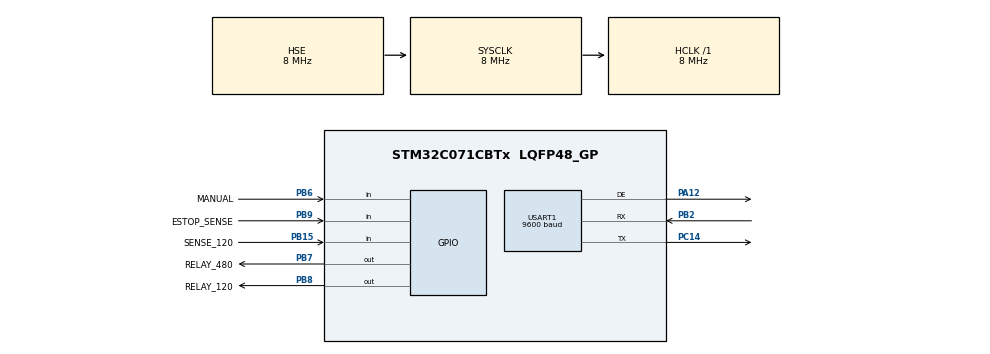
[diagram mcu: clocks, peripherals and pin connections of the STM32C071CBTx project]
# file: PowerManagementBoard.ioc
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Dma.Request0=USART1_RX
Dma.Request1=USART1_TX
Dma.USART1_RX.0.Direction=DMA_PERIPH_TO_MEMORY
Dma.USART1_RX.0.EventEnable=DISABLE
Dma.USART1_RX.0.Instance=DMA1_Channel1
Dma.USART1_RX.0.MemDataAlignment=DMA_MDATAALIGN_BYTE
Dma.USART1_RX.0.MemInc=DMA_MINC_ENABLE
Dma.USART1_RX.0.Mode=DMA_NORMAL
Dma.USART1_RX.0.PeriphDataAlignment=DMA_PDATAALIGN_BYTE
Dma.USART1_RX.0.PeriphInc=DMA_PINC_DISABLE
Dma.USART1_RX.0.Polarity=HAL_DMAMUX_REQ_GEN_RISING
Dma.USART1_RX.0.Priority=DMA_PRIORITY_VERY_HIGH
Dma.USART1_RX.0.RequestNumber=1
Dma.USART1_RX.0.SignalID=NONE
Dma.USART1_RX.0.SyncEnable=DISABLE
Dma.USART1_RX.0.SyncPolarity=HAL_DMAMUX_SYNC_NO_EVENT
Dma.USART1_RX.0.SyncRequestNumber=1
Dma.USART1_RX.0.SyncSignalID=NONE
Dma.USART1_TX.1.Direction=DMA_MEMORY_TO_PERIPH
Dma.USART1_TX.1.EventEnable=DISABLE
Dma.USART1_TX.1.Instance=DMA1_Channel2
Dma.USART1_TX.1.MemDataAlignment=DMA_MDATAALIGN_BYTE
Dma.USART1_TX.1.MemInc=DMA_MINC_ENABLE
Dma.USART1_TX.1.Mode=DMA_NORMAL
Dma.USART1_TX.1.PeriphDataAlignment=DMA_PDATAALIGN_BYTE
Dma.USART1_TX.1.PeriphInc=DMA_PINC_DISABLE
Dma.USART1_TX.1.Polarity=HAL_DMAMUX_REQ_GEN_RISING
Dma.USART1_TX.1.Priority=DMA_PRIORITY_VERY_HIGH
Dma.USART1_TX.1.RequestNumber=1
Dma.USART1_TX.1.SignalID=NONE
Dma.USART1_TX.1.SyncEnable=DISABLE
Dma.USART1_TX.1.SyncPolarity=HAL_DMAMUX_SYNC_NO_EVENT
Dma.USART1_TX.1.SyncRequestNumber=1
Dma.USART1_TX.1.SyncSignalID=NONE
Mcu.Family=STM32C0
Mcu.Name=STM32C071CBTx
Mcu.Package=LQFP48_GP
NVIC.DMA1_Channel1_IRQn=true\:0\:0\:false\:false\:true\:false\:true\:true
NVIC.DMA1_Channel2_3_IRQn=true\:0\:0\:false\:false\:true\:false\:true\:true
NVIC.USART1_IRQn=true\:0\:0\:false\:false\:true\:true\:true\:true
NimaLTD.I-CUBE-EE.3.1.3.DriverJjEE=true
PA12\ [PA10].Mode=Hardware Flow Control (RS485)
PA12\ [PA10].Signal=USART1_DE
PA13.Mode=Serial_Wire
PA13.Signal=DEBUG_SWDIO
PA14-BOOT0.Mode=Serial_Wire
PA14-BOOT0.Signal=DEBUG_SWCLK
PB15.GPIO_Label=SENSE_120
PB15.Signal=GPIO_Input
PB2.Mode=Asynchronous
PB2.Signal=USART1_RX
PB6.GPIO_Label=MANUAL
PB6.GPIO_PuPd=GPIO_PULLUP
PB6.Signal=GPIO_Input
PB7.GPIO_Label=RELAY_480
PB7.Signal=GPIO_Output
PB8.GPIO_Label=RELAY_120
PB8.Signal=GPIO_Output
PB9.GPIO_Label=ESTOP_SENSE
PB9.Signal=GPIO_Input
PC14-OSCX_IN(PC14).Mode=Asynchronous
PC14-OSCX_IN(PC14).Signal=USART1_TX
PF0-OSC_IN(PF0).Mode=HSE-External-Oscillator
PF0-OSC_IN(PF0).Signal=RCC_OSC_IN
PF1-OSC_OUT(PF1).Mode=HSE-External-Oscillator
PF1-OSC_OUT(PF1).Signal=RCC_OSC_OUT
ProjectManager.HeapSize=0x200
ProjectManager.StackSize=0x400
ProjectManager.TargetToolchain=STM32CubeIDE
RCC.ADCFreq_Value=8000000
RCC.AHBFreq_Value=8000000
RCC.CortexFreq_Value=8000000
RCC.EXTERNAL_CLOCK_VALUE=12288000
RCC.HCLKFreq_Value=8000000
RCC.HSE_VALUE=8000000
RCC.HSI48_VALUE=48000000
RCC.HSI_VALUE=48000000
RCC.LSE_VALUE=32768
RCC.SYSCLKFreq_VALUE=8000000
RCC.SYSCLKSource=RCC_SYSCLKSOURCE_HSE
USART1.BaudRate=9600
USART1.VirtualMode-Asynchronous=VM_ASYNC
USART1.VirtualMode-Hardware\ Flow\ Control\ (RS485)=VM_ASYNC
VP_NimaLTD.I-CUBE-EE_VS_DriverJjEE_1.0.0_3.1.3.Mode=DriverJjEE
board=custom

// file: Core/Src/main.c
/* USER CODE BEGIN Header */
/**
  ******************************************************************************
  * @file           : main.c
  * @brief          : Main program body
  ******************************************************************************
  * @attention
  *
  * Copyright (c) 2025 STMicroelectronics.
  * All rights reserved.
  *
  * This software is licensed under terms that can be found in the LICENSE file
  * in the root directory of this software component.
  * If no LICENSE file comes with this software, it is provided AS-IS.
  *
  ******************************************************************************
  */
/* USER CODE END Header */
#include "main.h"

/* USER CODE BEGIN Includes */
#include "modbus.h"
#include "error_codes.h"
#include "ee.h"
/* USER CODE END Includes */

UART_HandleTypeDef huart1;
DMA_HandleTypeDef hdma_usart1_rx;
DMA_HandleTypeDef hdma_usart1_tx;

/* USER CODE BEGIN PV */

uint16_t holding_register_database[NUM_HOLDING_REGISTERS] = {
    0x0007, // MODBUS_ID
    0x0003, // MB_BAUD_RATE
	  1000, // MB_TRANSMIT_TIMEOUT
	     2, // MB_TRANSMIT_RETRIES
	0x0000, // MB_ERRORS
    0x0000,	// GPIO_READ
	0x0000,	// GPIO_WRITE
	0x03E8	// WDG_TIME
};

uint16_t prev_gpio_write_register;
uint32_t wdg_time;
uint8_t shutdown;

uint8_t prev_gpio_state;

/* USER CODE END PV */

void SystemClock_Config(void);
static void MX_GPIO_Init(void);
static void MX_DMA_Init(void);
static void MX_USART1_UART_Init(void);

int main(void)
{

  /* USER CODE BEGIN 1 */
	int8_t modbus_status = HAL_OK;
	uint8_t modbus_tx_len = 0;
  /* USER CODE END 1 */

  /* MCU Configuration--------------------------------------------------------*/

  /* Reset of all peripherals, Initializes the Flash interface and the Systick. */
  HAL_Init();

  /* Configure the system clock */
  SystemClock_Config();

  /* Initialize all configured peripherals */
  MX_GPIO_Init();
  MX_DMA_Init();
  MX_USART1_UART_Init();
  /* USER CODE BEGIN 2 */

  EE_Init(&prev_gpio_state, sizeof(uint8_t));
  EE_Read();

  if(modbus_set_rx() != HAL_OK)
  {
	  Error_Handler();
  }
  wdg_time = 0;
  shutdown = 0;
  /* USER CODE END 2 */

  /* Infinite loop */
  /* USER CODE BEGIN WHILE */
  while (1)
  {
	  if(HAL_GPIO_ReadPin(MANUAL_GPIO_Port, MANUAL_Pin) == GPIO_PIN_SET)
	  {
		  if(shutdown)
		  {
			  // Set all GPIO pins to previous_state
			  if((prev_gpio_state & RELAY_120_MASK) != 0)
			  {
				  HAL_GPIO_WritePin(RELAY_120_GPIO_Port, RELAY_120_Pin, GPIO_PIN_SET);
			  }
			  HAL_Delay(1000);
			  if((prev_gpio_state & RELAY_480_MASK) != 0)
			  {
				  HAL_GPIO_WritePin(RELAY_480_GPIO_Port, RELAY_480_Pin, GPIO_PIN_SET);
			  }
			  wdg_time = HAL_GetTick();

			  // Carry the pin changes to the register database
			  holding_register_database[GPIO_WRITE] = prev_gpio_state;

			  // Restart the Modbus
			  modbus_status = modbus_startup();
			  if(modbus_status != 0)
			  {
				  holding_register_database[MB_ERRORS] |= 1U << ((modbus_status) + (MB_FATAL_ERROR - RANGE_ERROR));
			  }

			  // Ensure this code only executes once
			  shutdown = 0;
		  }
		  // Update the GPIO_READ register
		  GPIO_PinState estop_sense = HAL_GPIO_ReadPin(ESTOP_SENSE_GPIO_Port, ESTOP_SENSE_Pin);
		  GPIO_PinState sense_120 = HAL_GPIO_ReadPin(SENSE_120_GPIO_Port, SENSE_120_Pin);

		  holding_register_database[GPIO_READ] = ((estop_sense << ESTOP_SENSE_POS) | (sense_120 << SENSE_120_POS));

		  // Handle adjustment of the GPIO_WRITE pins
		  if(prev_gpio_state != holding_register_database[GPIO_WRITE])
		  {
			  if((prev_gpio_state & RELAY_120_MASK) != (holding_register_database[GPIO_WRITE] & RELAY_120_MASK))
			  {
				  HAL_GPIO_WritePin(RELAY_120_GPIO_Port, RELAY_120_Pin, (holding_register_database[GPIO_WRITE] & RELAY_120_MASK));
			  }
			  if((prev_gpio_state & RELAY_480_MASK) != (holding_register_database[GPIO_WRITE] & RELAY_480_MASK))
			  {
				  HAL_GPIO_WritePin(RELAY_480_GPIO_Port, RELAY_480_Pin, (holding_register_database[GPIO_WRITE] & RELAY_480_MASK));
			  }
			  prev_gpio_state = holding_register_database[GPIO_WRITE];
			  EE_Write();
			  wdg_time = HAL_GetTick();
		  }

		  // Handle Watchdog Timeout
		  if(HAL_GetTick() - wdg_time > (uint32_t)(holding_register_database[WDG_TIMEOUT]))
		  {
			  // Turn off the TBM
			  HAL_GPIO_WritePin(RELAY_480_GPIO_Port, RELAY_480_Pin, GPIO_PIN_RESET);
			  HAL_GPIO_WritePin(RELAY_120_GPIO_Port, RELAY_120_Pin, GPIO_PIN_RESET);

			  // Update the holding register database
			  holding_register_database[GPIO_WRITE] = 0;
			  prev_gpio_state = 0;
			  EE_Write();
		  }

		  // Handle Modbus Communication
		  if(modbus_rx())
		  {
			  if(get_rx_buffer(0) == holding_register_database[MODBUS_ID]) // Check Slave ID
			  {
				  wdg_time = HAL_GetTick();
				  switch(get_rx_buffer(1))
				  {
					  case 0x03:
					  {
						  // Return holding registers
						  modbus_status = return_holding_registers(&modbus_tx_len);
						  break;
					  }
					  case 0x10:
					  {
						  // Write holding registers
						  modbus_status = edit_multiple_registers(&modbus_tx_len);
						  break;
					  }
					  default:
					  {
						  modbus_status = modbus_exception(MB_ILLEGAL_FUNCTION);
						  break;
					  }
				  }
				  if(modbus_status != 0)
				  {
					  holding_register_database[MB_ERRORS] |= 1U << ((modbus_status) + (MB_FATAL_ERROR - RANGE_ERROR));
				  }
			  }
			  // Special case where you retrieve the modbus ID
			  else if((get_rx_buffer(0) == 0xFF) && // modbus_id = 0xFF = 255
				(get_rx_buffer(1) == 0x03) && // Function code = read_holding_registers
				(((get_rx_buffer(2) << 8) | get_rx_buffer(3)) == 0x00) && // Address to read = 0
				(((get_rx_buffer(4) << 8) | get_rx_buffer(5)) == 1)) // # of registers to read = 1
			  {
				  modbus_status = return_holding_registers(&modbus_tx_len);
				  if(modbus_status != 0)
				  {
					  holding_register_database[MB_ERRORS] |= 1U << ((modbus_status) + (MB_FATAL_ERROR - RANGE_ERROR));
				  }
			  }
		  }
		  modbus_status = monitor_modbus();
		  if(modbus_status != HAL_OK && modbus_status != HAL_BUSY)
		  {
			  switch(modbus_status)
			  {
				  case MB_TX_TIMEOUT:
				  {
					  for(uint8_t i = 0; i < holding_register_database[MB_TRANSMIT_RETRIES]; i++)
					  {
						  modbus_status = modbus_send(modbus_tx_len);
						  while(monitor_modbus() == HAL_BUSY);
						  if(modbus_status != HAL_OK)
						  {
							  holding_register_database[MB_ERRORS] |= 1U << ((modbus_status) + (MB_FATAL_ERROR - RANGE_ERROR));
						  }
					  }
					  break;
				  }
				  case MB_RX_TIMEOUT:
				  {
					  // Error only relates to Modbus Master Nodes
					  break;
				  }
				  case MB_UART_ERROR:
				  {
					  if(modbus_status != 0)
					  {
						  holding_register_database[MB_ERRORS] |= 1U << ((modbus_status) + (MB_FATAL_ERROR - RANGE_ERROR));
					  }
					  break;
				  }
				  case MB_FATAL_ERROR:
				  {
					  while(modbus_status != HAL_OK)
					  {
						  modbus_status = modbus_reset();
					  }
					  if(modbus_status != 0)
					  {
						  holding_register_database[MB_ERRORS] |= 1U << ((modbus_status) + (MB_FATAL_ERROR - RANGE_ERROR));
					  }
					  break;
				  }
				  default:
				  {
					  // Unknown error
				  }
			  }
		  }
	  }
	  else
	  {
		  if(!shutdown)
		  {
			  // Shutdown the Modbus
			  int8_t status = modbus_shutdown();
			  if(status != 0)
			  {
				  // log error in a queue
			  }

			  // Set all GPIO pins high
			  HAL_GPIO_WritePin(RELAY_120_GPIO_Port, RELAY_120_Pin, GPIO_PIN_SET);
			  HAL_Delay(1000);
			  HAL_GPIO_WritePin(RELAY_480_GPIO_Port, RELAY_480_Pin, GPIO_PIN_SET);

			  // Ensure this code only executes once
			  shutdown = 1;
		  }
	  }
    /* USER CODE END WHILE */

  }
}

void SystemClock_Config(void)
{
  RCC_OscInitTypeDef RCC_OscInitStruct = {0};
  RCC_ClkInitTypeDef RCC_ClkInitStruct = {0};

  /** Initializes the RCC Oscillators according to the specified parameters
  * in the RCC_OscInitTypeDef structure.
  */
  RCC_OscInitStruct.OscillatorType = RCC_OSCILLATORTYPE_HSE;
  RCC_OscInitStruct.HSEState = RCC_HSE_ON;
  if (HAL_RCC_OscConfig(&RCC_OscInitStruct) != HAL_OK)
  {
    Error_Handler();
  }

  /** Initializes the CPU, AHB and APB buses clocks
  */
  RCC_ClkInitStruct.ClockType = RCC_CLOCKTYPE_HCLK|RCC_CLOCKTYPE_SYSCLK
                              |RCC_CLOCKTYPE_PCLK1;
  RCC_ClkInitStruct.SYSCLKSource = RCC_SYSCLKSOURCE_HSE;
  RCC_ClkInitStruct.SYSCLKDivider = RCC_SYSCLK_DIV1;
  RCC_ClkInitStruct.AHBCLKDivider = RCC_HCLK_DIV1;
  RCC_ClkInitStruct.APB1CLKDivider = RCC_APB1_DIV1;

  if (HAL_RCC_ClockConfig(&RCC_ClkInitStruct, FLASH_LATENCY_0) != HAL_OK)
  {
    Error_Handler();
  }
}

static void MX_USART1_UART_Init(void)
{

  huart1.Instance = USART1;
  huart1.Init.BaudRate = 9600;
  huart1.Init.WordLength = UART_WORDLENGTH_8B;
  huart1.Init.StopBits = UART_STOPBITS_1;
  huart1.Init.Parity = UART_PARITY_NONE;
  huart1.Init.Mode = UART_MODE_TX_RX;
  huart1.Init.HwFlowCtl = UART_HWCONTROL_NONE;
  huart1.Init.OverSampling = UART_OVERSAMPLING_16;
  huart1.Init.OneBitSampling = UART_ONE_BIT_SAMPLE_DISABLE;
  huart1.Init.ClockPrescaler = UART_PRESCALER_DIV1;
  huart1.AdvancedInit.AdvFeatureInit = UART_ADVFEATURE_NO_INIT;
  if (HAL_RS485Ex_Init(&huart1, UART_DE_POLARITY_HIGH, 0, 0) != HAL_OK)
  {
    Error_Handler();
  }
  if (HAL_UARTEx_SetTxFifoThreshold(&huart1, UART_TXFIFO_THRESHOLD_1_8) != HAL_OK)
  {
    Error_Handler();
  }
  if (HAL_UARTEx_SetRxFifoThreshold(&huart1, UART_RXFIFO_THRESHOLD_1_8) != HAL_OK)
  {
    Error_Handler();
  }
  if (HAL_UARTEx_DisableFifoMode(&huart1) != HAL_OK)
  {
    Error_Handler();
  }

}

static void MX_DMA_Init(void)
{

  /* DMA controller clock enable */
  __HAL_RCC_DMA1_CLK_ENABLE();

  /* DMA interrupt init */
  /* DMA1_Channel1_IRQn interrupt configuration */
  HAL_NVIC_SetPriority(DMA1_Channel1_IRQn, 0, 0);
  HAL_NVIC_EnableIRQ(DMA1_Channel1_IRQn);
  /* DMA1_Channel2_3_IRQn interrupt configuration */
  HAL_NVIC_SetPriority(DMA1_Channel2_3_IRQn, 0, 0);
  HAL_NVIC_EnableIRQ(DMA1_Channel2_3_IRQn);

}

static void MX_GPIO_Init(void)
{
  GPIO_InitTypeDef GPIO_InitStruct = {0};

  /* GPIO Ports Clock Enable */
  __HAL_RCC_GPIOC_CLK_ENABLE();
  __HAL_RCC_GPIOF_CLK_ENABLE();
  __HAL_RCC_GPIOB_CLK_ENABLE();
  __HAL_RCC_GPIOA_CLK_ENABLE();

  /*Configure GPIO pin Output Level */
  HAL_GPIO_WritePin(GPIOB, RELAY_480_Pin|RELAY_120_Pin, GPIO_PIN_RESET);

  /*Configure GPIO pins : SENSE_120_Pin ESTOP_SENSE_Pin */
  GPIO_InitStruct.Pin = SENSE_120_Pin|ESTOP_SENSE_Pin;
  GPIO_InitStruct.Mode = GPIO_MODE_INPUT;
  GPIO_InitStruct.Pull = GPIO_NOPULL;
  HAL_GPIO_Init(GPIOB, &GPIO_InitStruct);

  /*Configure GPIO pin : MANUAL_Pin */
  GPIO_InitStruct.Pin = MANUAL_Pin;
  GPIO_InitStruct.Mode = GPIO_MODE_INPUT;
  GPIO_InitStruct.Pull = GPIO_PULLUP;
  HAL_GPIO_Init(MANUAL_GPIO_Port, &GPIO_InitStruct);

  /*Configure GPIO pins : RELAY_480_Pin RELAY_120_Pin */
  GPIO_InitStruct.Pin = RELAY_480_Pin|RELAY_120_Pin;
  GPIO_InitStruct.Mode = GPIO_MODE_OUTPUT_PP;
  GPIO_InitStruct.Pull = GPIO_NOPULL;
  GPIO_InitStruct.Speed = GPIO_SPEED_FREQ_LOW;
  HAL_GPIO_Init(GPIOB, &GPIO_InitStruct);

}

void Error_Handler(void)
{
  __disable_irq();
  while (1)
  {
  }
}
